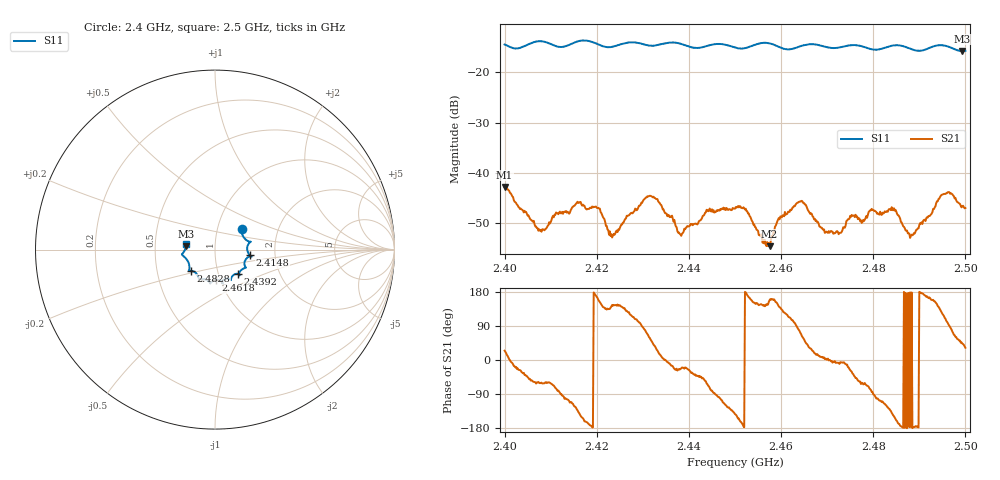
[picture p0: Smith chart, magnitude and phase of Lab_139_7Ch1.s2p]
# Hz S RI R 50
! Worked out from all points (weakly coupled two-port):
!   601 points, 2.4 GHz to 2.5 GHz, reference 50 ohm
!   highest |S21| = -42.79 dB at 2.4 GHz (marker M1); lowest = -54.6 dB at 2.4575 GHz (marker M2)
!   lowest |S11| = -15.8 dB at 2.4993 GHz (marker M3), VSWR 1.39, Z = 36 + j1.47 ohm
!   |S11| at or under -10 dB: start of sweep to end of sweep
!   S12 and S22 are empty: the file has one direction only
!   S11 on the Smith chart (normalised r, x): 2.4 GHz: 1.31, +0.31; 2.4148 GHz: 1.47, -0.09; 2.4392 GHz: 1.24, -0.35; 2.4618 GHz: 0.95, -0.33; 2.4828 GHz: 0.75, -0.18; 2.5 GHz: 0.72, +0.05
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2.4e9  0.1505 0.1156  0.00659 0.00302  0 0  0 0
2.4075e9  0.1996 0.0441  0.00136 -0.00239  0 0  0 0
2.414833e9  0.193 -0.0307  -0.002 -0.00415  0 0  0 0
2.416667e9  0.2037 -0.0394  -0.00423 -0.00243  0 0  0 0
2.420333e9  0.1855 -0.0412  -0.00419 0.00163  0 0  0 0
2.4235e9  0.164 -0.0753  -0.00191 0.00142  0 0  0 0
2.430667e9  0.1533 -0.1085  0.00154 0.00549  0 0  0 0
2.433333e9  0.1358 -0.1301  0.00487 0.00189  0 0  0 0
2.439167e9  0.1284 -0.1353  0.00259 -0.000924  0 0  0 0
2.45e9  0.0715 -0.162  -0.00351 -0.00267  0 0  0 0
2.4575e9  0.0439 -0.1898  -0.00173 0.000702  0 0  0 0
2.461833e9  0.00556 -0.1698  -0.00157 0.00378  0 0  0 0
2.464333e9  -0.022 -0.1818  0.00188 0.00484  0 0  0 0
2.466667e9  -0.0265 -0.1894  0.00349 0.00175  0 0  0 0
2.472667e9  -0.0669 -0.1641  0.00249 -0.00045  0 0  0 0
2.475333e9  -0.0864 -0.1659  0.00328 -0.00196  0 0  0 0
2.482833e9  -0.1334 -0.118  -0.00204 -0.00355  0 0  0 0
2.483333e9  -0.1378 -0.1175  -0.00266 -0.00341  0 0  0 0
2.4885e9  -0.1426 -0.0913  -0.0024 -1.59e-05  0 0  0 0
2.495e9  -0.1845 -0.0263  -0.00323 0.00517  0 0  0 0
2.499333e9  -0.1619 0.0198  0.0034 0.00321  0 0  0 0
2.5e9  -0.1614 0.0319  0.00378 0.00238  0 0  0 0
